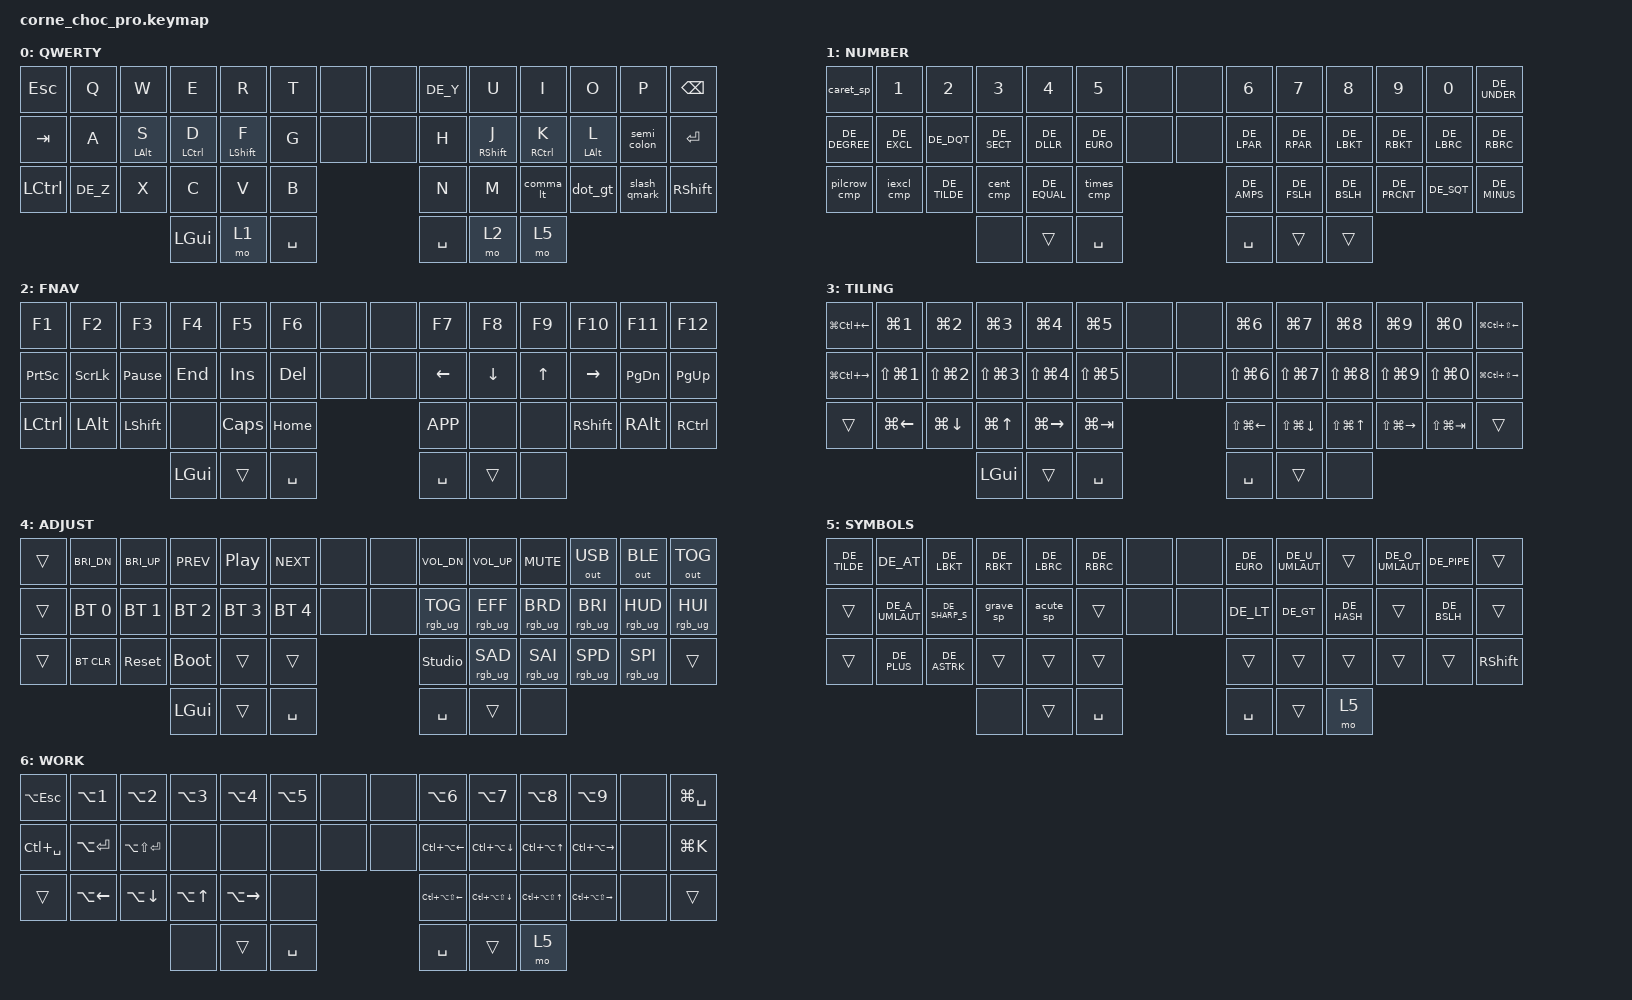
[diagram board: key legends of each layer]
/*
 * Copyright (c) 2020 The ZMK Contributors
 *
 * SPDX-License-Identifier: MIT
 *
 * Corne Choc Pro BT (nRF52840, nice!view) – German host layout
 *
 * The host uses the system layout "de" (XKBLAYOUT=de); there is no per-device override and no remapping tool. Every
 * character is sent with a DE_* key code (keys_de.h), so the character that is meant is the character that arrives.
 * Letters are QWERTY as on the keycaps: DE_Y on the top row, DE_Z on the bottom row (the host swaps y and z).
 * The repository is the truth: ZMK Studio is for trying things out only (see README).
 *
 * Layers:
 * 0 QWERTY   base; the keycap legends are US: ; : , < . > / ? come from mod-morphs
 * 1 NUMBER   Lower (left middle thumb): digits and symbols
 * 2 FNAV     Raise (right middle thumb): F-keys, arrows, navigation
 * 3 TILING   Lower + Raise: Hyprland (Omarchy 4.5.0) workspaces, focus, monitors
 * 4 ADJUST   Left Space + Right Space (combo): media, Bluetooth, reset, bootloader, Studio unlock
 * 5 SYMBOLS  right outer thumb: umlauts, ß, € and developer characters
 * 6 WORK     Lower + Symbols: herdr (Alt chords) and Omarchy single keys (menu, key list)
 *
 * Home-row mods (base layer): S/L = Alt, D/K = Ctrl, F/J = Shift when held together with a key of the other hand; a tap
 * types the letter. Alt+Tab: hold L (right hand), press Tab (left hand).
 *
 * Characters the German layout has no key for (¶ ¡ ¢ ×) are typed with the compose key (Omarchy 4.5.0: Shift+Caps Lock)
 * and a sequence of the X11 Compose table, one macro each on the NUMBER layer.
 *
 * Dead keys of the German layout (^ ´ `) need a following Space on the host: the macros caret_sp, acute_sp and grave_sp
 * send the character and the Space, so the character appears at once.
 */

#include <behaviors.dtsi>
#include <dt-bindings/zmk/keys.h>
#include <dt-bindings/zmk/bt.h>
#include <dt-bindings/zmk/outputs.h>
#include <dt-bindings/zmk/rgb.h>
#include "keys_de.h"

/ {
    chosen {
        zmk,physical-layout = &default_layout;
    };

    // Conditional layers
    conditional_layers {
        compatible = "zmk,conditional-layers";

        // Tiling: Lower + Raise
        tri_layer_tiling {
            if-layers = <1 2>;
            then-layer = <3>;
        };

        // Work (herdr, Omarchy single keys): Lower + Symbols
        tri_layer_work {
            if-layers = <1 5>;
            then-layer = <6>;
        };
    };

    // Combos for Adjust layer (Left Space + Right Space)
    combos {
        compatible = "zmk,combos";

        combo_adjust {
            timeout-ms = <50>;
            key-positions = <42 43>; // Left Space (42) + Right Space (43)
            bindings = <&mo 4>;
        };
    };

    behaviors {
        // Home-row mods: hold = modifier only together with a key of the other hand (positional), tap = letter.
        hml: homerow_mods_left {
            compatible = "zmk,behavior-hold-tap";
            #binding-cells = <2>;
            flavor = "balanced";
            tapping-term-ms = <280>;
            quick-tap-ms = <175>;
            require-prior-idle-ms = <150>;
            bindings = <&kp>, <&kp>;
            hold-trigger-key-positions = <8 9 10 11 12 13 22 23 24 25 26 27 34 35 36 37 38 39 43 44 45>;
            hold-trigger-on-release;
        };
        hmr: homerow_mods_right {
            compatible = "zmk,behavior-hold-tap";
            #binding-cells = <2>;
            flavor = "balanced";
            tapping-term-ms = <280>;
            quick-tap-ms = <175>;
            require-prior-idle-ms = <150>;
            bindings = <&kp>, <&kp>;
            hold-trigger-key-positions = <0 1 2 3 4 5 14 15 16 17 18 19 28 29 30 31 32 33 40 41 42>;
            hold-trigger-on-release;
        };

        // US legends on the base layer with the German host layout: the shifted character is another key code.
        semi_colon: semi_colon {
            compatible = "zmk,behavior-mod-morph";
            #binding-cells = <0>;
            bindings = <&kp DE_SEMI>, <&kp DE_COLON>;
            mods = <(MOD_LSFT|MOD_RSFT)>;
        };
        comma_lt: comma_lt {
            compatible = "zmk,behavior-mod-morph";
            #binding-cells = <0>;
            bindings = <&kp DE_COMMA>, <&kp DE_LT>;
            mods = <(MOD_LSFT|MOD_RSFT)>;
        };
        dot_gt: dot_gt {
            compatible = "zmk,behavior-mod-morph";
            #binding-cells = <0>;
            bindings = <&kp DE_DOT>, <&kp DE_GT>;
            mods = <(MOD_LSFT|MOD_RSFT)>;
        };
        slash_qmark: slash_qmark {
            compatible = "zmk,behavior-mod-morph";
            #binding-cells = <0>;
            bindings = <&kp DE_FSLH>, <&kp DE_QMARK>;
            mods = <(MOD_LSFT|MOD_RSFT)>;
        };
    };

    macros {
        // Characters the German layout has no key for: the compose key (Omarchy 4.5.0: Shift+Caps Lock) and the sequence
        // from the X11 Compose table (checked in en_US.UTF-8/Compose; ~/.XCompose of the computer does not touch them).
        pilcrow_cmp: pilcrow_cmp {
            compatible = "zmk,behavior-macro";
            #binding-cells = <0>;
            bindings = <&macro_tap &kp LS(CAPS) &kp P &kp DE_EXCL>;        // ¶ = Compose p !
        };
        iexcl_cmp: iexcl_cmp {
            compatible = "zmk,behavior-macro";
            #binding-cells = <0>;
            bindings = <&macro_tap &kp LS(CAPS) &kp DE_EXCL &kp DE_EXCL>;  // ¡ = Compose ! !
        };
        cent_cmp: cent_cmp {
            compatible = "zmk,behavior-macro";
            #binding-cells = <0>;
            bindings = <&macro_tap &kp LS(CAPS) &kp C &kp DE_FSLH>;        // ¢ = Compose c /
        };
        times_cmp: times_cmp {
            compatible = "zmk,behavior-macro";
            #binding-cells = <0>;
            bindings = <&macro_tap &kp LS(CAPS) &kp X &kp X>;              // × = Compose x x
        };
        // Dead keys of the German layout: the character and a Space, so it is typed at once.
        caret_sp: caret_sp {
            compatible = "zmk,behavior-macro";
            #binding-cells = <0>;
            bindings = <&macro_tap &kp DE_CARET &kp SPACE>;
        };
        acute_sp: acute_sp {
            compatible = "zmk,behavior-macro";
            #binding-cells = <0>;
            bindings = <&macro_tap &kp DE_ACUTE &kp SPACE>;
        };
        grave_sp: grave_sp {
            compatible = "zmk,behavior-macro";
            #binding-cells = <0>;
            bindings = <&macro_tap &kp DE_GRAVE &kp SPACE>;
        };
    };
};

/ {
    keymap {
        compatible = "zmk,keymap";

        default_layer {
            display-name = "QWERTY";
            // -----------------------------------------------------------------------------------------
            // QWERTY base layer (the keycaps are US-QWERTY)
            // | ESC  |  Q  |  W  |  E  |  R  |  T  | NONE | NONE |  Y  |  U  |  I  |  O  |  P  | BSPC|
            // | TAB  |  A  |  S  |  D  |  F  |  G  | NONE | NONE |  H  |  J  |  K  |  L  | ; : | ENT |
            // | CTRL |  Z  |  X  |  C  |  V  |  B  |              |  N  |  M  | , < | . > | / ? | SHFT|
            //                    | SUP | LWR | SPC |              | SPC | RSE | SYM |
            //
            // DE_Y / DE_Z: the host layout "de" swaps y and z, the key codes swap them back.
            // ; :  , <  . >  / ?  are mod-morphs: Shift sends the second character of the US legend.
            bindings = <
                &kp ESC   &kp Q    &kp W &kp E &kp R &kp T &none &none &kp DE_Y &kp U  &kp I     &kp O   &kp P        &kp BSPC
                &kp TAB   &kp A    &hml LALT S &hml LCTRL D &hml LSHFT F &kp G &none &none &kp H     &hmr RSHFT J  &hmr RCTRL K     &hmr LALT L   &semi_colon  &kp RET
                &kp LCTRL &kp DE_Z &kp X &kp C &kp V &kp B             &kp N     &kp M  &comma_lt &dot_gt &slash_qmark &kp RSHFT
                                            &kp LGUI &mo 1 &kp SPACE   &kp SPACE &mo 2 &mo 5
            >;
        };

        lower_layer {
            display-name = "NUMBER";
            // -----------------------------------------------------------------------------------------
            // Numbers and symbols (German key codes)
            // LEFT SIDE:                 RIGHT SIDE:
            // Row 1: ^  1  2  3  4  5    6  7  8  9  0  _
            // Row 2: °  !  "  §  $  €    (  )  [  ]  {  }
            // Row 3: +  *  ~  #  =  @    &  /  \  %  '  -
            //
            // ^ is a dead key on the host: caret_sp sends ^ and Space, so it is typed at once.
            // The left outer thumb (Super on the other layers) sends nothing here: with Super down, AltGr+8 would be
            // Super+8 (a workspace) instead of [ . Press Lower alone; if Super is already down, release it first.
            bindings = <
                &caret_sp     &kp N1      &kp N2     &kp N3       &kp N4       &kp N5      &none &none &kp N6        &kp N7        &kp N8        &kp N9        &kp N0        &kp DE_UNDER
                &kp DE_DEGREE &kp DE_EXCL &kp DE_DQT &kp DE_SECT  &kp DE_DLLR  &kp DE_EURO &none &none &kp DE_LPAR   &kp DE_RPAR   &kp DE_LBKT   &kp DE_RBKT   &kp DE_LBRC   &kp DE_RBRC
                &pilcrow_cmp  &iexcl_cmp   &kp DE_TILDE &cent_cmp    &kp DE_EQUAL &times_cmp        &kp DE_AMPS   &kp DE_FSLH   &kp DE_BSLH   &kp DE_PRCNT  &kp DE_SQT    &kp DE_MINUS
                                                          &none     &trans &kp SPACE   &kp SPACE &trans &trans
            >;
        };

        raise_layer {
            display-name = "FNAV";
            // -----------------------------------------------------------------------------------------
            // Function Keys and Navigation
            // |  F1 |  F2 |  F3 |  F4 |  F5 |  F6 | NONE | NONE |  F7 |  F8 |  F9 | F10 | F11 | F12 |
            // |PRINT|SCRLK|PAUSE| END | INS | DEL | NONE | NONE |  ←  |  ↓  |  ↑  |  →  |PGDN |PGUP |
            // | CTRL| ALT | SHFT|  -  | CAPS| HOME|              | MENU|  -  |  -  | SHFT| ALT | CTRL|
            //                    | SUP |     | SPC |              | SPC |     |  -  |
            // Del is on the left hand, next to Ctrl and Alt (Ctrl+Alt+Del closes all windows in Omarchy).
            bindings = <
                &kp F1     &kp F2    &kp F3          &kp F4   &kp F5   &kp F6  &none &none &kp F7   &kp F8    &kp F9    &kp F10   &kp F11   &kp F12
                &kp PSCRN  &kp SLCK  &kp PAUSE_BREAK &kp END  &kp INS  &kp DEL &none &none &kp LEFT &kp DOWN  &kp UP    &kp RIGHT &kp PG_DN &kp PG_UP
                &kp LCTRL  &kp LALT  &kp LSHFT       &none    &kp CAPS &kp HOME        &kp K_APP &none    &none     &kp RSHFT &kp RALT  &kp RCTRL
                                              &kp LGUI &trans &kp SPACE                &kp SPACE &trans &none
            >;
        };

        tiling_layer {
            display-name = "TILING";
            // -----------------------------------------------------------------------------------------
            // Hyprland (Omarchy 4.5.0), Lower + Raise. Every monitor has a block of ten workspaces; Super+1…0 acts on
            // the block of the focused monitor.
            //
            // Row 1:  outer left  Super+Ctrl+Left   (focus the monitor on the left)
            //         Q W E R T → Super+1..5   Y U I O P → Super+6..0
            //         outer right Super+Ctrl+Shift+Left (move the window to the monitor on the left)
            // Row 2:  outer left  Super+Ctrl+Right  (focus the monitor on the right)
            //         A S D F G → Super+Shift+1..5   H J K L ; → Super+Shift+6..0 (move the window to the workspace)
            //         outer right Super+Ctrl+Shift+Right (move the window to the monitor on the right)
            // Row 3:  Z X C V B → Super+Left/Down/Up/Right (focus window), Super+Tab (next workspace)
            //         N M , . / → Super+Shift+Left/Down/Up/Right (swap window), Super+Shift+Tab (previous workspace)
            bindings = <
                &kp LG(LC(LEFT))  &kp LG(N1)     &kp LG(N2)     &kp LG(N3)     &kp LG(N4)     &kp LG(N5)     &none &none &kp LG(N6)     &kp LG(N7)     &kp LG(N8)     &kp LG(N9)     &kp LG(N0)     &kp LG(LC(LS(LEFT)))
                &kp LG(LC(RIGHT)) &kp LS(LG(N1)) &kp LS(LG(N2)) &kp LS(LG(N3)) &kp LS(LG(N4)) &kp LS(LG(N5)) &none &none &kp LS(LG(N6)) &kp LS(LG(N7)) &kp LS(LG(N8)) &kp LS(LG(N9)) &kp LS(LG(N0)) &kp LG(LC(LS(RIGHT)))
                &trans            &kp LG(LEFT)   &kp LG(DOWN)   &kp LG(UP)     &kp LG(RIGHT)  &kp LG(TAB)               &kp LS(LG(LEFT)) &kp LS(LG(DOWN)) &kp LS(LG(UP)) &kp LS(LG(RIGHT)) &kp LS(LG(TAB)) &trans
                                                                &kp LGUI &trans &kp SPACE                           &kp SPACE &trans &none
            >;
        };

        adjust_layer {
            display-name = "ADJUST";
            // -----------------------------------------------------------------------------------------
            // Media, Bluetooth, system (Left Space + Right Space combo)
            // Row 1: brightness −/+, previous, play/pause, next | volume −/+, mute, output USB / BLE / toggle
            // Row 2: Bluetooth profile 0..4 | RGB: on/off, effect, brightness −/+, hue −/+
            // Row 3: BT clear (active profile), sys_reset, bootloader | ZMK Studio unlock (right half, away from the reset keys),
            //        RGB saturation −/+, effect speed −/+
            bindings = <
                &trans       &kp C_BRI_DN &kp C_BRI_UP &kp C_PREV   &kp C_PP     &kp C_NEXT   &none &none &kp C_VOL_DN &kp C_VOL_UP &kp C_MUTE &out OUT_USB &out OUT_BLE &out OUT_TOG
                &trans       &bt BT_SEL 0 &bt BT_SEL 1 &bt BT_SEL 2 &bt BT_SEL 3 &bt BT_SEL 4 &none &none &rgb_ug RGB_TOG &rgb_ug RGB_EFF &rgb_ug RGB_BRD &rgb_ug RGB_BRI &rgb_ug RGB_HUD &rgb_ug RGB_HUI
                &trans       &bt BT_CLR   &sys_reset   &bootloader  &trans       &trans              &studio_unlock &rgb_ug RGB_SAD &rgb_ug RGB_SAI &rgb_ug RGB_SPD &rgb_ug RGB_SPI &trans
                                                       &kp LGUI &trans &kp SPACE                     &kp SPACE &trans &none
            >;
        };

        symbols_layer {
            display-name = "SYMBOLS";
            // -----------------------------------------------------------------------------------------
            // Symbols layer (held with the right outer thumb), German key codes
            // Row 1: ~ @ [ ] { } |  € ü . ö | .     Row 2: . ä ß ` ´ . |  < > # . \ .
            // Umlauts and ß sit on their letters (a, u, o, s); capitals with Shift. ` and ´ are dead keys on the host:
            // grave_sp and acute_sp send the character and Space.
            // Hold the right outer thumb alone. The left outer thumb (Super on the other layers) sends nothing here: with
            // Super down, AltGr+8 would be Super+8 (a workspace) instead of [ . If Super is already down, release it first.
            bindings = <
                &kp DE_TILDE &kp DE_AT       &kp DE_LBKT   &kp DE_RBKT &kp DE_LBRC &kp DE_RBRC &none &none &kp DE_EURO &kp DE_U_UMLAUT &trans    &kp DE_O_UMLAUT &kp DE_PIPE &trans
                &trans       &kp DE_A_UMLAUT &kp DE_SHARP_S &grave_sp  &acute_sp   &trans       &none &none &kp DE_LT   &kp DE_GT       &kp DE_HASH &trans          &kp DE_BSLH &trans
                &trans       &kp DE_PLUS     &kp DE_ASTRK  &trans      &trans      &trans                   &trans      &trans          &trans      &trans          &trans      &kp RSHFT
                                                           &none     &trans &kp SPACE   &kp SPACE &trans &mo 5
            >;
        };

        work_layer {
            display-name = "WORK";
            // -----------------------------------------------------------------------------------------
            // herdr and Omarchy single keys (Lower + Symbols). Left hand: herdr tabs, splits, prefix. Right hand: herdr
            // pane focus (Ctrl+Alt+arrows) and resize (Ctrl+Alt+Shift+arrows). Unused keys send nothing.
            bindings = <
                &kp LA(ESC)   &kp LA(N1)      &kp LA(N2)       &kp LA(N3)    &kp LA(N4)   &kp LA(N5) &none &none &kp LA(N6)                &kp LA(N7)                 &kp LA(N8)               &kp LA(N9)                &none     &kp LG(SPACE)
                &kp LC(SPACE) &kp LA(RET)     &kp LA(LS(RET))  &none         &none        &none      &none &none &kp LC(LA(LEFT))          &kp LC(LA(DOWN))           &kp LC(LA(UP))           &kp LC(LA(RIGHT))         &none     &kp LG(K)
                &trans        &kp LA(LEFT)    &kp LA(DOWN)    &kp LA(UP)    &kp LA(RIGHT) &none                &kp LC(LA(LS(LEFT)))     &kp LC(LA(LS(DOWN)))       &kp LC(LA(LS(UP)))       &kp LC(LA(LS(RIGHT)))     &none     &trans
                                                               &none     &trans &kp SPACE   &kp SPACE &trans &mo 5
            >;
        };
    };
};
